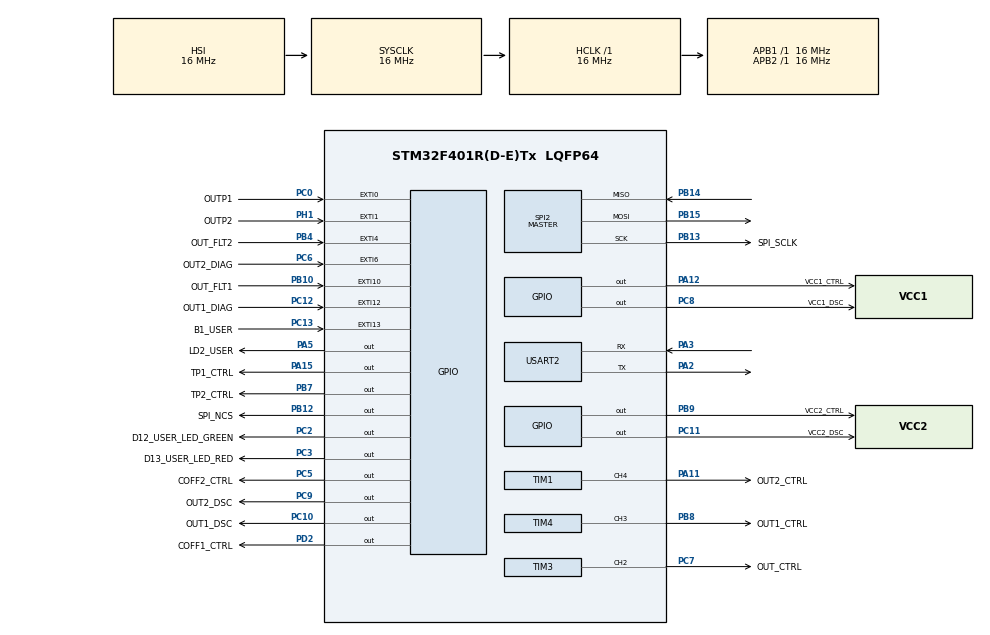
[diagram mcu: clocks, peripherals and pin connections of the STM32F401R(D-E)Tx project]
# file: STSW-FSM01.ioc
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Mcu.Family=STM32F4
Mcu.Name=STM32F401R(D-E)Tx
Mcu.Package=LQFP64
NVIC.EXTI0_IRQn=true\:1\:0\:true\:false\:true\:true\:true\:true
NVIC.EXTI15_10_IRQn=true\:1\:0\:true\:false\:true\:true\:true\:true
NVIC.EXTI1_IRQn=true\:1\:0\:true\:false\:true\:true\:true\:true
NVIC.EXTI4_IRQn=true\:1\:0\:true\:false\:true\:true\:true\:true
NVIC.EXTI9_5_IRQn=true\:0\:0\:false\:false\:true\:true\:true\:true
NVIC.PriorityGroup=NVIC_PRIORITYGROUP_4
NVIC.TIM1_UP_TIM10_IRQn=true\:1\:0\:true\:false\:true\:true\:true\:true
NVIC.USART2_IRQn=true\:0\:0\:false\:false\:true\:true\:true\:true
PA11.GPIO_Label=OUT2_CTRL
PA11.Signal=S_TIM1_CH4
PA12.GPIO_Label=VCC1_CTRL
PA12.Signal=GPIO_Output
PA13.Mode=Serial_Wire
PA13.Signal=SYS_JTMS-SWDIO
PA14.Mode=Serial_Wire
PA14.Signal=SYS_JTCK-SWCLK
PA15.GPIO_Label=TP1_CTRL
PA15.Signal=GPIO_Output
PA2.Mode=Asynchronous
PA2.Signal=USART2_TX
PA3.Mode=Asynchronous
PA3.Signal=USART2_RX
PA5.GPIO_Label=LD2_USER
PA5.Signal=GPIO_Output
PB10.GPIO_Label=OUT_FLT1
PB10.Signal=GPXTI10
PB12.GPIO_Label=SPI_NCS
PB12.GPIO_ModeDefaultOutputPP=GPIO_MODE_OUTPUT_PP
PB12.GPIO_Speed=GPIO_SPEED_FREQ_VERY_HIGH
PB12.PinState=GPIO_PIN_RESET
PB12.Signal=GPIO_Output
PB13.GPIO_Label=SPI_SCLK
PB13.Mode=Full_Duplex_Master
PB13.Signal=SPI2_SCK
PB14.Mode=Full_Duplex_Master
PB14.Signal=SPI2_MISO
PB15.Mode=Full_Duplex_Master
PB15.Signal=SPI2_MOSI
PB4.GPIO_Label=OUT_FLT2
PB4.Signal=GPXTI4
PB7.GPIO_Label=TP2_CTRL
PB7.Signal=GPIO_Output
PB8.GPIO_Label=OUT1_CTRL
PB8.Signal=S_TIM4_CH3
PB9.GPIO_Label=VCC2_CTRL
PB9.Signal=GPIO_Output
PC0.GPIO_Label=OUTP1
PC0.GPIO_ModeDefaultEXTI=GPIO_MODE_IT_RISING_FALLING
PC0.Signal=GPXTI0
PC10.GPIO_Label=OUT1_DSC
PC10.Signal=GPIO_Output
PC11.GPIO_Label=VCC2_DSC
PC11.Signal=GPIO_Output
PC12.GPIO_Label=OUT1_DIAG
PC12.Signal=GPXTI12
PC13-ANTI_TAMP.GPIO_Label=B1_USER
PC13-ANTI_TAMP.GPIO_ModeDefaultEXTI=GPIO_MODE_IT_RISING
PC13-ANTI_TAMP.Signal=GPXTI13
PC2.GPIO_Label=D12_USER_LED_GREEN
PC2.Signal=GPIO_Output
PC3.GPIO_Label=D13_USER_LED_RED
PC3.Signal=GPIO_Output
PC5.GPIO_Label=COFF2_CTRL
PC5.Signal=GPIO_Output
PC6.GPIO_Label=OUT2_DIAG
PC6.Signal=GPXTI6
PC7.GPIO_Label=OUT_CTRL
PC7.GPIO_PuPd=GPIO_PULLDOWN
PC7.Signal=S_TIM3_CH2
PC8.GPIO_Label=VCC1_DSC
PC8.Signal=GPIO_Output
PC9.GPIO_Label=OUT2_DSC
PC9.Signal=GPIO_Output
PD2.GPIO_Label=COFF1_CTRL
PD2.Signal=GPIO_Output
PH1\ -\ OSC_OUT.GPIO_Label=OUTP2
PH1\ -\ OSC_OUT.GPIO_ModeDefaultEXTI=GPIO_MODE_IT_RISING_FALLING
PH1\ -\ OSC_OUT.Signal=GPXTI1
ProjectManager.HeapSize=0x200
ProjectManager.StackSize=0x400
ProjectManager.TargetToolchain=STM32CubeIDE
RCC.AHBFreq_Value=16000000
RCC.APB1Freq_Value=16000000
RCC.APB2Freq_Value=16000000
RCC.CortexFreq_Value=16000000
RCC.HSE_VALUE=25000000
RCC.HSI_VALUE=16000000
RCC.LSE_VALUE=32768
RCC.SYSCLKFreq_VALUE=16000000
RCC.VCOOutputFreq_Value=192000000
SH.S_TIM1_CH4.0=TIM1_CH4,PWM Generation4 CH4
SH.S_TIM3_CH2.0=TIM3_CH2,PWM Generation2 CH2
SH.S_TIM4_CH3.0=TIM4_CH3,PWM Generation3 CH3
SPI2.BaudRatePrescaler=SPI_BAUDRATEPRESCALER_128
SPI2.CLKPhase=SPI_PHASE_2EDGE
SPI2.CLKPolarity=SPI_POLARITY_HIGH
SPI2.DataSize=SPI_DATASIZE_16BIT
SPI2.Direction=SPI_DIRECTION_2LINES
SPI2.Mode=SPI_MODE_MASTER
SPI2.VirtualType=VM_MASTER
TIM1.Channel-PWM\ Generation4\ CH4=TIM_CHANNEL_4
TIM1.Prescaler=160
TIM3.Channel-PWM\ Generation2\ CH2=TIM_CHANNEL_2
TIM4.Channel-PWM\ Generation3\ CH3=TIM_CHANNEL_3
TIM4.OCMode_PWM-PWM\ Generation3\ CH3=TIM_OCMODE_PWM1
USART2.VirtualMode=VM_ASYNC
VP_TIM1_VS_ClockSourceINT.Mode=Internal
VP_TIM2_VS_ClockSourceINT.Mode=Internal
VP_TIM3_VS_ClockSourceINT.Mode=Internal
board=custom

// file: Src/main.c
/* USER CODE BEGIN Header */
/**
  ******************************************************************************
  * @file           : main.c
  * @brief          : Main program body
  ******************************************************************************
  * @attention
  *
  * <h2><center>&copy; Copyright (c) 2021 STMicroelectronics.
  * All rights reserved.</center></h2>
  *
  * This software component is licensed by ST under BSD 3-Clause license,
  * the "License"; You may not use this file except in compliance with the
  * License. You may obtain a copy of the License at:
  *                        opensource.org/licenses/BSD-3-Clause
  *
  ******************************************************************************
  */
/* USER CODE END Header */
#include "main.h"

/* USER CODE BEGIN Includes */
#include "nucleo_exports.h"
#include "fsm01m1_eval_diagnostic_driver.h"
#include "fsm01m1_eval_driver.h"
#include "stest01a1_eval_diagnostic_driver.h"
#include "fsm01m1_eval_pulse_driver.h"

/* USER CODE END Includes */

SPI_HandleTypeDef hspi2;

TIM_HandleTypeDef htim1;
TIM_HandleTypeDef htim2;
TIM_HandleTypeDef htim3;
TIM_HandleTypeDef htim4;

UART_HandleTypeDef huart2;

void SystemClock_Config(void);
static void MX_GPIO_Init(void);
static void MX_SPI2_Init(void);
static void MX_USART2_UART_Init(void);
static void MX_TIM1_Init(void);
static void MX_TIM4_Init(void);
static void MX_TIM2_Init(void);
static void MX_TIM3_Init(void);

int main(void)
{

  /* MCU Configuration--------------------------------------------------------*/

  /* Reset of all peripherals, Initializes the Flash interface and the Systick. */
  HAL_Init();

  /* Configure the system clock */
  SystemClock_Config();

  /* Initialize all configured peripherals */
  MX_GPIO_Init();
  MX_SPI2_Init();
  MX_USART2_UART_Init();
  MX_TIM1_Init();
  MX_TIM4_Init();
  MX_TIM2_Init();
  MX_TIM3_Init();
  /* USER CODE BEGIN 2 */

  /* release ADC SPI interface */
  HAL_GPIO_WritePin(SPI_NCS_GPIO_Port, SPI_NCS_Pin, GPIO_PIN_SET);

  /* Dummy read to initialize ADC */
  FSM01M1_ADC120_read_blind(&hspi2);

  FSM01M1_initialization();

  /* USER CODE END 2 */

  /* Infinite loop */
  /* USER CODE BEGIN WHILE */

  /* Turn-ON VCC1 & VCC2 */
  FSM01M1_VCC1_ON();
  FSM01M1_VCC2_ON();

  /* visual led test */
//  HAL_GPIO_TogglePin(OUT2_CTRL_GPIO_Port, OUT2_CTRL_Pin);
//
//  FSM01M1_PULSE_PulseGen_TIM_Config(&htim1, OUT2_TIM, OUT2_TIM_CHANNEL, 1, 65535, 25000);
//  FSM01M1_PULSE_PulseGen_TIM_Start(&htim1, OUT2_TIM_CHANNEL);
//  HAL_Delay(500);
//  FSM01M1_PULSE_PulseGen_TIM_Stop(&htim1, OUT2_TIM_CHANNEL);
//
//  FSM01M1_PULSE_PulseGen_TIM_Config(&htim4, TIM4, TIM_CHANNEL_3, 1, 65535, 25000);
//  FSM01M1_PULSE_PulseGen_TIM_Start(&htim4, TIM_CHANNEL_3);
//  HAL_Delay(500);
//  FSM01M1_PULSE_PulseGen_TIM_Stop(&htim4, TIM_CHANNEL_3);
//
//  FSM01M1_PULSE_PulseGen_TIM_Config(&htim4, TIM4, TIM_CHANNEL_3, 1, 65535, 50000);
//  FSM01M1_PULSE_PulseGen_TIM_Start(&htim4, TIM_CHANNEL_3);
//  HAL_Delay(500);
//  FSM01M1_PULSE_PulseGen_TIM_Stop(&htim4, TIM_CHANNEL_3);
//
//  /* positive test pulse */
//  FSM01M1_PULSE_PulseGen_TIM_Config(&htim4, TIM4, TIM_CHANNEL_3, 1, 300, 50);
//  FSM01M1_PULSE_PulseGen_TIM_Start(&htim4, TIM_CHANNEL_3);
//  HAL_Delay(500);
//  FSM01M1_PULSE_PulseGen_TIM_Stop(&htim4, TIM_CHANNEL_3);
//  // with discharge
//  FSM01M1_PULSE_PulseGen_TIM_Start_IT(&htim4, TIM_CHANNEL_3);
//  HAL_Delay(500);
//  FSM01M1_PULSE_PulseGen_TIM_Stop_IT(&htim4, TIM_CHANNEL_3);
//
//  /* negative test pulse */
//  FSM01M1_PULSE_PulseGen_TIM_Config(&htim4, TIM4, TIM_CHANNEL_3, 1, 300, 250);
//  FSM01M1_PULSE_PulseGen_TIM_Start(&htim4, TIM_CHANNEL_3);
//  HAL_Delay(500);
//  FSM01M1_PULSE_PulseGen_TIM_Stop(&htim4, TIM_CHANNEL_3);
//  // with discharge
//  FSM01M1_PULSE_PulseGen_TIM_Start_IT(&htim4, TIM_CHANNEL_3);
//  HAL_Delay(500);
//  FSM01M1_PULSE_PulseGen_TIM_Stop_IT(&htim4, TIM_CHANNEL_3);
//
//  /* C/D interface Class 1 */
//  // positive
//  FSM01M1_PULSE_PulseGen_TIM_Config(&htim4, TIM4, TIM_CHANNEL_3, 1, 10000, 100);
//  FSM01M1_PULSE_PulseGen_TIM_Start(&htim4, TIM_CHANNEL_3);
//  HAL_Delay(500);
//  FSM01M1_PULSE_PulseGen_TIM_Stop(&htim4, TIM_CHANNEL_3);
//  // with discharge
//  FSM01M1_PULSE_PulseGen_TIM_Start_IT(&htim4, TIM_CHANNEL_3);
//  HAL_Delay(500);
//  FSM01M1_PULSE_PulseGen_TIM_Stop_IT(&htim4, TIM_CHANNEL_3);
//  // negative
//  FSM01M1_PULSE_PulseGen_TIM_Config(&htim4, TIM4, TIM_CHANNEL_3, 1, 10000, 9900);
//  FSM01M1_PULSE_PulseGen_TIM_Start(&htim4, TIM_CHANNEL_3);
//  HAL_Delay(500);
//  FSM01M1_PULSE_PulseGen_TIM_Stop(&htim4, TIM_CHANNEL_3);
//  // with discharge
//  FSM01M1_PULSE_PulseGen_TIM_Start_IT(&htim4, TIM_CHANNEL_3);
//  HAL_Delay(500);
//  FSM01M1_PULSE_PulseGen_TIM_Stop_IT(&htim4, TIM_CHANNEL_3);
//
//  FSM01M1_PULSE_PulseGen_TIM_Config(&htim4, TIM4, TIM_CHANNEL_3, 1, 65535, 0);
//  FSM01M1_PULSE_PulseGen_TIM_Start(&htim4, TIM_CHANNEL_3);

  /* Main loop */
//  HAL_TIM_Base_Start_IT(&htim1);
//  HAL_TIM_IC_Start_IT(&htim2, TIM_CHANNEL_2);

  while (1) {
	  /* USER_LED_GREEN test */
	  FSM01M1_user_LED_green_ON();
//	  FSM01M1_TimeLoop_Short();

	  FSM01M1_user_LED_green_OFF();
//	  FSM01M1_TimeLoop_Short();

	  FSM01M1_DIAG_IO_Loop(&huart2);
	  STEST01A1_DIAG_IO_Loop(&huart2);
	  NUCLEO_USART_vCOM_QuickWriteLine("Device not found");
  }

    /* USER CODE END WHILE */

}

void SystemClock_Config(void)
{
  RCC_OscInitTypeDef RCC_OscInitStruct = {0};
  RCC_ClkInitTypeDef RCC_ClkInitStruct = {0};

  /** Configure the main internal regulator output voltage
  */
  __HAL_RCC_PWR_CLK_ENABLE();
  __HAL_PWR_VOLTAGESCALING_CONFIG(PWR_REGULATOR_VOLTAGE_SCALE2);

  /** Initializes the RCC Oscillators according to the specified parameters
  * in the RCC_OscInitTypeDef structure.
  */
  RCC_OscInitStruct.OscillatorType = RCC_OSCILLATORTYPE_HSI;
  RCC_OscInitStruct.HSIState = RCC_HSI_ON;
  RCC_OscInitStruct.HSICalibrationValue = RCC_HSICALIBRATION_DEFAULT;
  RCC_OscInitStruct.PLL.PLLState = RCC_PLL_NONE;
  if (HAL_RCC_OscConfig(&RCC_OscInitStruct) != HAL_OK)
  {
    Error_Handler();
  }

  /** Initializes the CPU, AHB and APB buses clocks
  */
  RCC_ClkInitStruct.ClockType = RCC_CLOCKTYPE_HCLK|RCC_CLOCKTYPE_SYSCLK
                              |RCC_CLOCKTYPE_PCLK1|RCC_CLOCKTYPE_PCLK2;
  RCC_ClkInitStruct.SYSCLKSource = RCC_SYSCLKSOURCE_HSI;
  RCC_ClkInitStruct.AHBCLKDivider = RCC_SYSCLK_DIV1;
  RCC_ClkInitStruct.APB1CLKDivider = RCC_HCLK_DIV1;
  RCC_ClkInitStruct.APB2CLKDivider = RCC_HCLK_DIV1;

  if (HAL_RCC_ClockConfig(&RCC_ClkInitStruct, FLASH_LATENCY_0) != HAL_OK)
  {
    Error_Handler();
  }
}

static void MX_SPI2_Init(void)
{

  /* SPI2 parameter configuration*/
  hspi2.Instance = SPI2;
  hspi2.Init.Mode = SPI_MODE_MASTER;
  hspi2.Init.Direction = SPI_DIRECTION_2LINES;
  hspi2.Init.DataSize = SPI_DATASIZE_16BIT;
  hspi2.Init.CLKPolarity = SPI_POLARITY_HIGH;
  hspi2.Init.CLKPhase = SPI_PHASE_2EDGE;
  hspi2.Init.NSS = SPI_NSS_SOFT;
  hspi2.Init.BaudRatePrescaler = SPI_BAUDRATEPRESCALER_128;
  hspi2.Init.FirstBit = SPI_FIRSTBIT_MSB;
  hspi2.Init.TIMode = SPI_TIMODE_DISABLE;
  hspi2.Init.CRCCalculation = SPI_CRCCALCULATION_DISABLE;
  hspi2.Init.CRCPolynomial = 10;
  if (HAL_SPI_Init(&hspi2) != HAL_OK)
  {
    Error_Handler();
  }

}

static void MX_TIM1_Init(void)
{

  TIM_ClockConfigTypeDef sClockSourceConfig = {0};
  TIM_MasterConfigTypeDef sMasterConfig = {0};
  TIM_OC_InitTypeDef sConfigOC = {0};
  TIM_BreakDeadTimeConfigTypeDef sBreakDeadTimeConfig = {0};

  htim1.Instance = TIM1;
  htim1.Init.Prescaler = 160;
  htim1.Init.CounterMode = TIM_COUNTERMODE_UP;
  htim1.Init.Period = 65535;
  htim1.Init.ClockDivision = TIM_CLOCKDIVISION_DIV1;
  htim1.Init.RepetitionCounter = 0;
  htim1.Init.AutoReloadPreload = TIM_AUTORELOAD_PRELOAD_DISABLE;
  if (HAL_TIM_Base_Init(&htim1) != HAL_OK)
  {
    Error_Handler();
  }
  sClockSourceConfig.ClockSource = TIM_CLOCKSOURCE_INTERNAL;
  if (HAL_TIM_ConfigClockSource(&htim1, &sClockSourceConfig) != HAL_OK)
  {
    Error_Handler();
  }
  if (HAL_TIM_PWM_Init(&htim1) != HAL_OK)
  {
    Error_Handler();
  }
  sMasterConfig.MasterOutputTrigger = TIM_TRGO_RESET;
  sMasterConfig.MasterSlaveMode = TIM_MASTERSLAVEMODE_DISABLE;
  if (HAL_TIMEx_MasterConfigSynchronization(&htim1, &sMasterConfig) != HAL_OK)
  {
    Error_Handler();
  }
  sConfigOC.OCMode = TIM_OCMODE_PWM1;
  sConfigOC.Pulse = 0;
  sConfigOC.OCPolarity = TIM_OCPOLARITY_HIGH;
  sConfigOC.OCFastMode = TIM_OCFAST_DISABLE;
  sConfigOC.OCIdleState = TIM_OCIDLESTATE_RESET;
  sConfigOC.OCNIdleState = TIM_OCNIDLESTATE_RESET;
  if (HAL_TIM_PWM_ConfigChannel(&htim1, &sConfigOC, TIM_CHANNEL_4) != HAL_OK)
  {
    Error_Handler();
  }
  sBreakDeadTimeConfig.OffStateRunMode = TIM_OSSR_DISABLE;
  sBreakDeadTimeConfig.OffStateIDLEMode = TIM_OSSI_DISABLE;
  sBreakDeadTimeConfig.LockLevel = TIM_LOCKLEVEL_OFF;
  sBreakDeadTimeConfig.DeadTime = 0;
  sBreakDeadTimeConfig.BreakState = TIM_BREAK_DISABLE;
  sBreakDeadTimeConfig.BreakPolarity = TIM_BREAKPOLARITY_HIGH;
  sBreakDeadTimeConfig.AutomaticOutput = TIM_AUTOMATICOUTPUT_DISABLE;
  if (HAL_TIMEx_ConfigBreakDeadTime(&htim1, &sBreakDeadTimeConfig) != HAL_OK)
  {
    Error_Handler();
  }
  HAL_TIM_MspPostInit(&htim1);

}

static void MX_TIM2_Init(void)
{

  TIM_ClockConfigTypeDef sClockSourceConfig = {0};
  TIM_MasterConfigTypeDef sMasterConfig = {0};

  htim2.Instance = TIM2;
  htim2.Init.Prescaler = 0;
  htim2.Init.CounterMode = TIM_COUNTERMODE_UP;
  htim2.Init.Period = 4294967295;
  htim2.Init.ClockDivision = TIM_CLOCKDIVISION_DIV1;
  htim2.Init.AutoReloadPreload = TIM_AUTORELOAD_PRELOAD_DISABLE;
  if (HAL_TIM_Base_Init(&htim2) != HAL_OK)
  {
    Error_Handler();
  }
  sClockSourceConfig.ClockSource = TIM_CLOCKSOURCE_INTERNAL;
  if (HAL_TIM_ConfigClockSource(&htim2, &sClockSourceConfig) != HAL_OK)
  {
    Error_Handler();
  }
  sMasterConfig.MasterOutputTrigger = TIM_TRGO_RESET;
  sMasterConfig.MasterSlaveMode = TIM_MASTERSLAVEMODE_DISABLE;
  if (HAL_TIMEx_MasterConfigSynchronization(&htim2, &sMasterConfig) != HAL_OK)
  {
    Error_Handler();
  }

}

static void MX_TIM3_Init(void)
{

  TIM_ClockConfigTypeDef sClockSourceConfig = {0};
  TIM_MasterConfigTypeDef sMasterConfig = {0};
  TIM_OC_InitTypeDef sConfigOC = {0};

  htim3.Instance = TIM3;
  htim3.Init.Prescaler = 0;
  htim3.Init.CounterMode = TIM_COUNTERMODE_UP;
  htim3.Init.Period = 65535;
  htim3.Init.ClockDivision = TIM_CLOCKDIVISION_DIV1;
  htim3.Init.AutoReloadPreload = TIM_AUTORELOAD_PRELOAD_DISABLE;
  if (HAL_TIM_Base_Init(&htim3) != HAL_OK)
  {
    Error_Handler();
  }
  sClockSourceConfig.ClockSource = TIM_CLOCKSOURCE_INTERNAL;
  if (HAL_TIM_ConfigClockSource(&htim3, &sClockSourceConfig) != HAL_OK)
  {
    Error_Handler();
  }
  if (HAL_TIM_PWM_Init(&htim3) != HAL_OK)
  {
    Error_Handler();
  }
  sMasterConfig.MasterOutputTrigger = TIM_TRGO_RESET;
  sMasterConfig.MasterSlaveMode = TIM_MASTERSLAVEMODE_DISABLE;
  if (HAL_TIMEx_MasterConfigSynchronization(&htim3, &sMasterConfig) != HAL_OK)
  {
    Error_Handler();
  }
  sConfigOC.OCMode = TIM_OCMODE_PWM1;
  sConfigOC.Pulse = 0;
  sConfigOC.OCPolarity = TIM_OCPOLARITY_HIGH;
  sConfigOC.OCFastMode = TIM_OCFAST_DISABLE;
  if (HAL_TIM_PWM_ConfigChannel(&htim3, &sConfigOC, TIM_CHANNEL_2) != HAL_OK)
  {
    Error_Handler();
  }
  HAL_TIM_MspPostInit(&htim3);

}

static void MX_TIM4_Init(void)
{

  TIM_MasterConfigTypeDef sMasterConfig = {0};
  TIM_OC_InitTypeDef sConfigOC = {0};

  htim4.Instance = TIM4;
  htim4.Init.Prescaler = 0;
  htim4.Init.CounterMode = TIM_COUNTERMODE_UP;
  htim4.Init.Period = 65535;
  htim4.Init.ClockDivision = TIM_CLOCKDIVISION_DIV1;
  htim4.Init.AutoReloadPreload = TIM_AUTORELOAD_PRELOAD_DISABLE;
  if (HAL_TIM_PWM_Init(&htim4) != HAL_OK)
  {
    Error_Handler();
  }
  sMasterConfig.MasterOutputTrigger = TIM_TRGO_RESET;
  sMasterConfig.MasterSlaveMode = TIM_MASTERSLAVEMODE_DISABLE;
  if (HAL_TIMEx_MasterConfigSynchronization(&htim4, &sMasterConfig) != HAL_OK)
  {
    Error_Handler();
  }
  sConfigOC.OCMode = TIM_OCMODE_PWM1;
  sConfigOC.Pulse = 0;
  sConfigOC.OCPolarity = TIM_OCPOLARITY_HIGH;
  sConfigOC.OCFastMode = TIM_OCFAST_DISABLE;
  if (HAL_TIM_PWM_ConfigChannel(&htim4, &sConfigOC, TIM_CHANNEL_3) != HAL_OK)
  {
    Error_Handler();
  }
  HAL_TIM_MspPostInit(&htim4);

}

static void MX_USART2_UART_Init(void)
{

  huart2.Instance = USART2;
  huart2.Init.BaudRate = 115200;
  huart2.Init.WordLength = UART_WORDLENGTH_8B;
  huart2.Init.StopBits = UART_STOPBITS_1;
  huart2.Init.Parity = UART_PARITY_NONE;
  huart2.Init.Mode = UART_MODE_TX_RX;
  huart2.Init.HwFlowCtl = UART_HWCONTROL_NONE;
  huart2.Init.OverSampling = UART_OVERSAMPLING_16;
  if (HAL_UART_Init(&huart2) != HAL_OK)
  {
    Error_Handler();
  }

}

static void MX_GPIO_Init(void)
{
  GPIO_InitTypeDef GPIO_InitStruct = {0};

  /* GPIO Ports Clock Enable */
  __HAL_RCC_GPIOC_CLK_ENABLE();
  __HAL_RCC_GPIOH_CLK_ENABLE();
  __HAL_RCC_GPIOA_CLK_ENABLE();
  __HAL_RCC_GPIOB_CLK_ENABLE();
  __HAL_RCC_GPIOD_CLK_ENABLE();

  /*Configure GPIO pin Output Level */
  HAL_GPIO_WritePin(GPIOC, D12_USER_LED_GREEN_Pin|D13_USER_LED_RED_Pin|COFF2_CTRL_Pin|VCC1_DSC_Pin
                          |OUT2_DSC_Pin|OUT1_DSC_Pin|VCC2_DSC_Pin, GPIO_PIN_RESET);

  /*Configure GPIO pin Output Level */
  HAL_GPIO_WritePin(GPIOA, LD2_USER_Pin|VCC1_CTRL_Pin|TP1_CTRL_Pin, GPIO_PIN_RESET);

  /*Configure GPIO pin Output Level */
  HAL_GPIO_WritePin(GPIOB, SPI_NCS_Pin|TP2_CTRL_Pin|VCC2_CTRL_Pin, GPIO_PIN_RESET);

  /*Configure GPIO pin Output Level */
  HAL_GPIO_WritePin(COFF1_CTRL_GPIO_Port, COFF1_CTRL_Pin, GPIO_PIN_RESET);

  /*Configure GPIO pins : B1_USER_Pin OUT2_DIAG_Pin OUT1_DIAG_Pin */
  GPIO_InitStruct.Pin = B1_USER_Pin|OUT2_DIAG_Pin|OUT1_DIAG_Pin;
  GPIO_InitStruct.Mode = GPIO_MODE_IT_RISING;
  GPIO_InitStruct.Pull = GPIO_NOPULL;
  HAL_GPIO_Init(GPIOC, &GPIO_InitStruct);

  /*Configure GPIO pin : OUTP2_Pin */
  GPIO_InitStruct.Pin = OUTP2_Pin;
  GPIO_InitStruct.Mode = GPIO_MODE_IT_RISING_FALLING;
  GPIO_InitStruct.Pull = GPIO_NOPULL;
  HAL_GPIO_Init(OUTP2_GPIO_Port, &GPIO_InitStruct);

  /*Configure GPIO pin : OUTP1_Pin */
  GPIO_InitStruct.Pin = OUTP1_Pin;
  GPIO_InitStruct.Mode = GPIO_MODE_IT_RISING_FALLING;
  GPIO_InitStruct.Pull = GPIO_NOPULL;
  HAL_GPIO_Init(OUTP1_GPIO_Port, &GPIO_InitStruct);

  /*Configure GPIO pins : D12_USER_LED_GREEN_Pin D13_USER_LED_RED_Pin COFF2_CTRL_Pin VCC1_DSC_Pin
                           OUT2_DSC_Pin OUT1_DSC_Pin VCC2_DSC_Pin */
  GPIO_InitStruct.Pin = D12_USER_LED_GREEN_Pin|D13_USER_LED_RED_Pin|COFF2_CTRL_Pin|VCC1_DSC_Pin
                          |OUT2_DSC_Pin|OUT1_DSC_Pin|VCC2_DSC_Pin;
  GPIO_InitStruct.Mode = GPIO_MODE_OUTPUT_PP;
  GPIO_InitStruct.Pull = GPIO_NOPULL;
  GPIO_InitStruct.Speed = GPIO_SPEED_FREQ_LOW;
  HAL_GPIO_Init(GPIOC, &GPIO_InitStruct);

  /*Configure GPIO pins : LD2_USER_Pin VCC1_CTRL_Pin TP1_CTRL_Pin */
  GPIO_InitStruct.Pin = LD2_USER_Pin|VCC1_CTRL_Pin|TP1_CTRL_Pin;
  GPIO_InitStruct.Mode = GPIO_MODE_OUTPUT_PP;
  GPIO_InitStruct.Pull = GPIO_NOPULL;
  GPIO_InitStruct.Speed = GPIO_SPEED_FREQ_LOW;
  HAL_GPIO_Init(GPIOA, &GPIO_InitStruct);

  /*Configure GPIO pins : OUT_FLT1_Pin OUT_FLT2_Pin */
  GPIO_InitStruct.Pin = OUT_FLT1_Pin|OUT_FLT2_Pin;
  GPIO_InitStruct.Mode = GPIO_MODE_IT_RISING;
  GPIO_InitStruct.Pull = GPIO_NOPULL;
  HAL_GPIO_Init(GPIOB, &GPIO_InitStruct);

  /*Configure GPIO pin : SPI_NCS_Pin */
  GPIO_InitStruct.Pin = SPI_NCS_Pin;
  GPIO_InitStruct.Mode = GPIO_MODE_OUTPUT_PP;
  GPIO_InitStruct.Pull = GPIO_NOPULL;
  GPIO_InitStruct.Speed = GPIO_SPEED_FREQ_VERY_HIGH;
  HAL_GPIO_Init(SPI_NCS_GPIO_Port, &GPIO_InitStruct);

  /*Configure GPIO pin : COFF1_CTRL_Pin */
  GPIO_InitStruct.Pin = COFF1_CTRL_Pin;
  GPIO_InitStruct.Mode = GPIO_MODE_OUTPUT_PP;
  GPIO_InitStruct.Pull = GPIO_NOPULL;
  GPIO_InitStruct.Speed = GPIO_SPEED_FREQ_LOW;
  HAL_GPIO_Init(COFF1_CTRL_GPIO_Port, &GPIO_InitStruct);

  /*Configure GPIO pins : TP2_CTRL_Pin VCC2_CTRL_Pin */
  GPIO_InitStruct.Pin = TP2_CTRL_Pin|VCC2_CTRL_Pin;
  GPIO_InitStruct.Mode = GPIO_MODE_OUTPUT_PP;
  GPIO_InitStruct.Pull = GPIO_NOPULL;
  GPIO_InitStruct.Speed = GPIO_SPEED_FREQ_LOW;
  HAL_GPIO_Init(GPIOB, &GPIO_InitStruct);

  /* EXTI interrupt init*/
  HAL_NVIC_SetPriority(EXTI0_IRQn, 1, 0);
  HAL_NVIC_EnableIRQ(EXTI0_IRQn);

  HAL_NVIC_SetPriority(EXTI1_IRQn, 1, 0);
  HAL_NVIC_EnableIRQ(EXTI1_IRQn);

  HAL_NVIC_SetPriority(EXTI4_IRQn, 1, 0);
  HAL_NVIC_EnableIRQ(EXTI4_IRQn);

  HAL_NVIC_SetPriority(EXTI9_5_IRQn, 0, 0);
  HAL_NVIC_EnableIRQ(EXTI9_5_IRQn);

  HAL_NVIC_SetPriority(EXTI15_10_IRQn, 1, 0);
  HAL_NVIC_EnableIRQ(EXTI15_10_IRQn);

}

/* USER CODE BEGIN 4 */
void HAL_TIM_PeriodElapsedCallback(TIM_HandleTypeDef *htim) {
	FSM01M1_PULSE_PeriodElapsedCallback(htim);
	if (htim->Instance == TIM1) {
		HAL_GPIO_TogglePin(LD2_USER_GPIO_Port, LD2_USER_Pin);
	}
}

/* USER CODE END 4 */

void Error_Handler(void)
{
}
